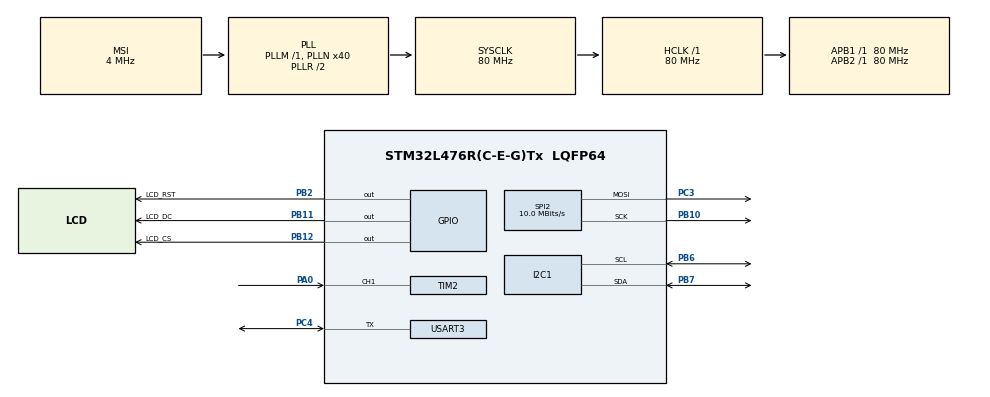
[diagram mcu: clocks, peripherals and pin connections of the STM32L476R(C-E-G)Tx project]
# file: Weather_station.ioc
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Dma.Request0=SPI2_TX
Dma.SPI2_TX.0.Direction=DMA_MEMORY_TO_PERIPH
Dma.SPI2_TX.0.Instance=DMA1_Channel5
Dma.SPI2_TX.0.MemDataAlignment=DMA_MDATAALIGN_BYTE
Dma.SPI2_TX.0.MemInc=DMA_MINC_ENABLE
Dma.SPI2_TX.0.Mode=DMA_NORMAL
Dma.SPI2_TX.0.PeriphDataAlignment=DMA_PDATAALIGN_BYTE
Dma.SPI2_TX.0.PeriphInc=DMA_PINC_DISABLE
Dma.SPI2_TX.0.Priority=DMA_PRIORITY_LOW
I2C1.Timing=0x10909CEC
Mcu.Family=STM32L4
Mcu.Name=STM32L476R(C-E-G)Tx
Mcu.Package=LQFP64
NVIC.DMA1_Channel5_IRQn=true\:7\:0\:true\:false\:true\:false\:true\:true
NVIC.PriorityGroup=NVIC_PRIORITYGROUP_4
NVIC.TIM6_DAC_IRQn=true\:15\:0\:true\:false\:true\:true\:true\:true
PA0.Signal=S_TIM2_CH1
PA13\ (JTMS-SWDIO).Mode=Serial_Wire
PA13\ (JTMS-SWDIO).Signal=SYS_JTMS-SWDIO
PA14\ (JTCK-SWCLK).Mode=Serial_Wire
PA14\ (JTCK-SWCLK).Signal=SYS_JTCK-SWCLK
PB10.Mode=TX_Only_Simplex_Unidirect_Master
PB10.Signal=SPI2_SCK
PB11.GPIO_Label=LCD_DC
PB11.Signal=GPIO_Output
PB12.GPIO_Label=LCD_CS
PB12.PinState=GPIO_PIN_SET
PB12.Signal=GPIO_Output
PB2.GPIO_Label=LCD_RST
PB2.Signal=GPIO_Output
PB6.Mode=I2C
PB6.Signal=I2C1_SCL
PB7.Mode=I2C
PB7.Signal=I2C1_SDA
PC3.Mode=TX_Only_Simplex_Unidirect_Master
PC3.Signal=SPI2_MOSI
PC4.Mode=Half_duplex(single_wire_mode)
PC4.Signal=USART3_TX
ProjectManager.HeapSize=0x200
ProjectManager.StackSize=0x2000
ProjectManager.TargetToolchain=STM32CubeIDE
RCC.AHBFreq_Value=80000000
RCC.APB1Freq_Value=80000000
RCC.APB1TimFreq_Value=80000000
RCC.APB2Freq_Value=80000000
RCC.APB2TimFreq_Value=80000000
RCC.CortexFreq_Value=80000000
RCC.HCLKFreq_Value=80000000
RCC.HSE_VALUE=8000000
RCC.HSI_VALUE=16000000
RCC.LSE_VALUE=32768
RCC.MSI_VALUE=4000000
RCC.PLLN=40
RCC.SYSCLKFreq_VALUE=80000000
RCC.SYSCLKSource=RCC_SYSCLKSOURCE_PLLCLK
RCC.VCOOutputFreq_Value=160000000
SH.S_TIM2_CH1.0=TIM2_CH1,TriggerSource_TI1ED
SH.S_TIM2_CH1.1=TIM2_CH1,Input_Capture1_from_TI1
SPI2.BaudRatePrescaler=SPI_BAUDRATEPRESCALER_8
SPI2.CalculateBaudRate=10.0 MBits/s
SPI2.DataSize=SPI_DATASIZE_8BIT
SPI2.Direction=SPI_DIRECTION_2LINES
SPI2.Mode=SPI_MODE_MASTER
SPI2.NSSPMode=SPI_NSS_PULSE_DISABLE
SPI2.VirtualType=VM_MASTER
TIM2.Channel-Input_Capture1_from_TI1=TIM_CHANNEL_1
TIM2.ICPolarity_CH1=TIM_INPUTCHANNELPOLARITY_FALLING
TIM2.Prescaler=79
TIM6.AutoReloadPreload=TIM_AUTORELOAD_PRELOAD_DISABLE
TIM6.Period=15999
TIM6.Prescaler=9999
USART3.BaudRate=9600
USART3.OverrunDisableParam=ADVFEATURE_OVERRUN_DISABLE
USART3.VirtualMode-Half_duplex(single_wire_mode)=VM_ASYNC
VP_TIM2_VS_ClockSourceINT.Mode=Internal
VP_TIM2_VS_ControllerModeReset.Mode=Reset Mode
VP_TIM6_VS_ClockSourceINT.Mode=Enable_Timer
board=custom

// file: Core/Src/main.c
/* USER CODE BEGIN Header */
/**
  ******************************************************************************
  * @file           : main.c
  * @brief          : Main program body
  ******************************************************************************
  * @attention
  *
  * Copyright (c) 2023 STMicroelectronics.
  * All rights reserved.
  *
  * This software is licensed under terms that can be found in the LICENSE file
  * in the root directory of this software component.
  * If no LICENSE file comes with this software, it is provided AS-IS.
  *
  ******************************************************************************
  */
/* USER CODE END Header */
#include "main.h"
#include "dma.h"
#include "i2c.h"
#include "spi.h"
#include "tim.h"
#include "usart.h"
#include "gpio.h"

/* USER CODE BEGIN Includes */
#include "lcd.h"
#include "lps25hb.h"
#include "ds18b20.h"
#include "background.h"
#include "display_utils.h"
#include "hagl.h"
#include "rgb565.h"
#include "stdlib.h"
extern const uint8_t font9x18B_ISO8859_2[];
/* USER CODE END Includes */

void SystemClock_Config(void);

/* USER CODE BEGIN 0 */
void HAL_TIM_PeriodElapsedCallback(TIM_HandleTypeDef *htim)
{
  if (htim == &htim6) {
	  get_measurements(NULL);
  }
}
/* USER CODE END 0 */

int main(void)
{

  /* MCU Configuration--------------------------------------------------------*/

  /* Reset of all peripherals, Initializes the Flash interface and the Systick. */
  HAL_Init();

  /* Configure the system clock */
  SystemClock_Config();

  /* Initialize all configured peripherals */
  MX_GPIO_Init();
  MX_DMA_Init();
  MX_SPI2_Init();
  MX_I2C1_Init();
  MX_USART3_UART_Init();
  MX_TIM2_Init();
  MX_TIM6_Init();
  /* USER CODE BEGIN 2 */
  lcd_init();

  //Timer for cyclic measurements every 2 seconds
  HAL_TIM_Base_Start_IT(&htim6);

  if (lps25hb_init() == HAL_OK) {
	hagl_put_text(L"OK: LPS25HB", 30, 10, GREEN, font9x18B_ISO8859_2);
	lcd_copy();
  } else {
	hagl_put_text(L"Error: LPS25HB", 20, 10, RED, font9x18B_ISO8859_2);
	lcd_copy();
    Error_Handler();
  }

  if (ds18b20_init(NULL) == HAL_OK) {
	hagl_put_text(L"OK: DS18B20", 30, 10+18, GREEN, font9x18B_ISO8859_2);
	lcd_copy();
  } else {
	hagl_put_text(L"Error: DS18B20", 20, 10+18, RED, font9x18B_ISO8859_2);
	lcd_copy();
	Error_Handler();
  }

  //sensor calibration
  lps25hb_set_calib(32);

  HAL_Delay(500);
  hagl_clear_screen();
  background_init();

  /* USER CODE END 2 */

  /* Infinite loop */
  /* USER CODE BEGIN WHILE */
  while (1)
  {
	  background_animate();
	  while (lcd_is_busy()) {}
	  background_render();

	  update_foreground();

	  lcd_copy();
    /* USER CODE END WHILE */

  }
}

void SystemClock_Config(void)
{
  RCC_OscInitTypeDef RCC_OscInitStruct = {0};
  RCC_ClkInitTypeDef RCC_ClkInitStruct = {0};

  /** Configure the main internal regulator output voltage
  */
  if (HAL_PWREx_ControlVoltageScaling(PWR_REGULATOR_VOLTAGE_SCALE1) != HAL_OK)
  {
    Error_Handler();
  }

  /** Initializes the RCC Oscillators according to the specified parameters
  * in the RCC_OscInitTypeDef structure.
  */
  RCC_OscInitStruct.OscillatorType = RCC_OSCILLATORTYPE_MSI;
  RCC_OscInitStruct.MSIState = RCC_MSI_ON;
  RCC_OscInitStruct.MSICalibrationValue = 0;
  RCC_OscInitStruct.MSIClockRange = RCC_MSIRANGE_6;
  RCC_OscInitStruct.PLL.PLLState = RCC_PLL_ON;
  RCC_OscInitStruct.PLL.PLLSource = RCC_PLLSOURCE_MSI;
  RCC_OscInitStruct.PLL.PLLM = 1;
  RCC_OscInitStruct.PLL.PLLN = 40;
  RCC_OscInitStruct.PLL.PLLP = RCC_PLLP_DIV7;
  RCC_OscInitStruct.PLL.PLLQ = RCC_PLLQ_DIV2;
  RCC_OscInitStruct.PLL.PLLR = RCC_PLLR_DIV2;
  if (HAL_RCC_OscConfig(&RCC_OscInitStruct) != HAL_OK)
  {
    Error_Handler();
  }

  /** Initializes the CPU, AHB and APB buses clocks
  */
  RCC_ClkInitStruct.ClockType = RCC_CLOCKTYPE_HCLK|RCC_CLOCKTYPE_SYSCLK
                              |RCC_CLOCKTYPE_PCLK1|RCC_CLOCKTYPE_PCLK2;
  RCC_ClkInitStruct.SYSCLKSource = RCC_SYSCLKSOURCE_PLLCLK;
  RCC_ClkInitStruct.AHBCLKDivider = RCC_SYSCLK_DIV1;
  RCC_ClkInitStruct.APB1CLKDivider = RCC_HCLK_DIV1;
  RCC_ClkInitStruct.APB2CLKDivider = RCC_HCLK_DIV1;

  if (HAL_RCC_ClockConfig(&RCC_ClkInitStruct, FLASH_LATENCY_4) != HAL_OK)
  {
    Error_Handler();
  }
}

void Error_Handler(void)
{
  __disable_irq();
  while (1)
  {
  }
}
